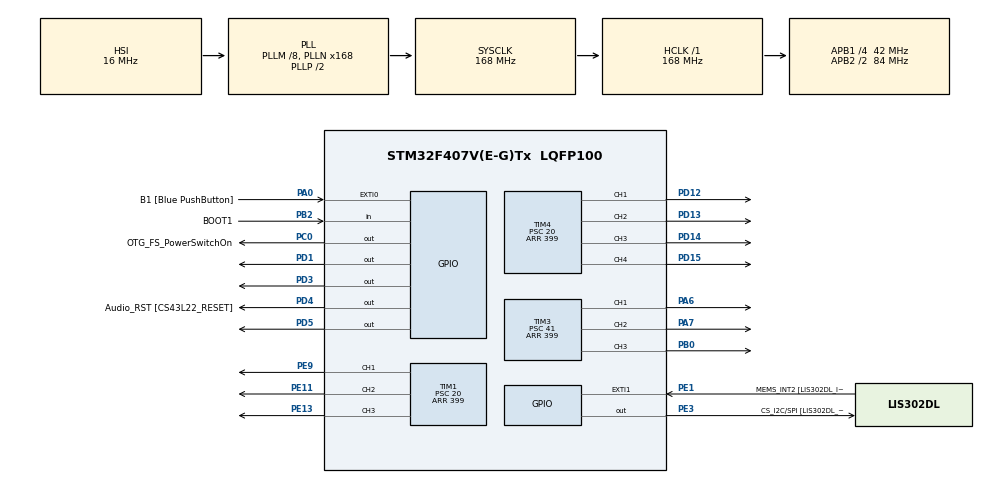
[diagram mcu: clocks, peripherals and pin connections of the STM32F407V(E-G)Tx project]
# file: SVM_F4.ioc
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Mcu.Family=STM32F4
Mcu.Name=STM32F407V(E-G)Tx
Mcu.Package=LQFP100
NVIC.PriorityGroup=NVIC_PRIORITYGROUP_0
NVIC.TIM1_UP_TIM10_IRQn=true\:0\:0\:false\:false\:true\:true
PA0-WKUP.GPIO_Label=B1 [Blue PushButton]
PA0-WKUP.GPIO_ModeDefaultEXTI=GPIO_MODE_EVT_RISING
PA0-WKUP.GPIO_PuPd=GPIO_NOPULL
PA0-WKUP.Signal=GPXTI0
PA10.GPIO_Label=OTG_FS_ID
PA10.GPIO_Mode=GPIO_MODE_AF_PP
PA10.GPIO_PuPd=GPIO_NOPULL
PA10.GPIO_Speed=GPIO_SPEED_FREQ_LOW
PA10.Signal=USB_OTG_FS_ID
PA11.GPIO_Label=OTG_FS_DM
PA11.GPIO_Mode=GPIO_MODE_AF_PP
PA11.GPIO_PuPd=GPIO_NOPULL
PA11.GPIO_Speed=GPIO_SPEED_FREQ_LOW
PA11.Signal=USB_OTG_FS_DM
PA12.GPIO_Label=OTG_FS_DP
PA12.GPIO_Mode=GPIO_MODE_AF_PP
PA12.GPIO_PuPd=GPIO_NOPULL
PA12.GPIO_Speed=GPIO_SPEED_FREQ_LOW
PA12.Signal=USB_OTG_FS_DP
PA13.GPIO_Label=SWDIO
PA13.Signal=SYS_JTMS-SWDIO
PA14.GPIO_Label=SWCLK
PA14.Signal=SYS_JTCK-SWCLK
PA4.GPIO_Label=I2S3_WS [CS43L22_LRCK]
PA4.GPIO_Mode=GPIO_MODE_AF_PP
PA4.GPIO_PuPd=GPIO_NOPULL
PA4.GPIO_Speed=GPIO_SPEED_FREQ_LOW
PA4.Signal=I2S3_WS
PA5.GPIO_Label=SPI1_SCK [LIS302DL_SCL/SPC]
PA5.GPIO_Mode=GPIO_MODE_AF_PP
PA5.GPIO_PuPd=GPIO_NOPULL
PA5.GPIO_Speed=GPIO_SPEED_FREQ_LOW
PA5.Signal=SPI1_SCK
PA6.GPIO_ModeDefaultPP=GPIO_MODE_AF_PP
PA6.GPIO_PuPd=GPIO_NOPULL
PA6.GPIO_Speed=GPIO_SPEED_FREQ_VERY_HIGH
PA6.Signal=S_TIM3_CH1
PA7.GPIO_ModeDefaultPP=GPIO_MODE_AF_PP
PA7.GPIO_PuPd=GPIO_NOPULL
PA7.GPIO_Speed=GPIO_SPEED_FREQ_VERY_HIGH
PA7.Signal=S_TIM3_CH2
PA9.GPIO_Label=VBUS_FS
PA9.GPIO_Mode=GPIO_MODE_INPUT
PA9.GPIO_PuPd=GPIO_NOPULL
PA9.Signal=USB_OTG_FS_VBUS
PB0.GPIO_ModeDefaultPP=GPIO_MODE_AF_PP
PB0.GPIO_PuPd=GPIO_NOPULL
PB0.GPIO_Speed=GPIO_SPEED_FREQ_VERY_HIGH
PB0.Signal=S_TIM3_CH3
PB10.GPIO_Label=CLK_IN [MP45DT02_CLK]
PB10.GPIO_Mode=GPIO_MODE_AF_PP
PB10.GPIO_PuPd=GPIO_NOPULL
PB10.GPIO_Speed=GPIO_SPEED_FREQ_LOW
PB10.Signal=I2S2_CK
PB2.GPIO_Label=BOOT1
PB2.GPIO_Mode=GPIO_MODE_INPUT
PB2.GPIO_PuPd=GPIO_NOPULL
PB2.Signal=GPIO_Input
PB3.GPIO_Label=SWO
PB3.Signal=SYS_JTDO-SWO
PB6.GPIO_Label=Audio_SCL [CS43L22_SCL]
PB6.GPIO_Mode=GPIO_MODE_AF_OD
PB6.GPIO_PuPd=GPIO_NOPULL
PB6.GPIO_Speed=GPIO_SPEED_FREQ_LOW
PB6.Signal=I2C1_SCL
PB9.GPIO_Label=Audio_SDA [CS43L22_SDA]
PB9.GPIO_Mode=GPIO_MODE_AF_OD
PB9.GPIO_PuPd=GPIO_NOPULL
PB9.GPIO_Speed=GPIO_SPEED_FREQ_LOW
PB9.Signal=I2C1_SDA
PC0.GPIO_Label=OTG_FS_PowerSwitchOn
PC0.GPIO_PuPd=GPIO_NOPULL
PC0.GPIO_Speed=GPIO_SPEED_FREQ_LOW
PC0.PinState=GPIO_PIN_SET
PC0.Signal=GPIO_Output
PC10.GPIO_Label=I2S3_SCK [CS43L22_SCLK]
PC10.GPIO_Mode=GPIO_MODE_AF_PP
PC10.GPIO_PuPd=GPIO_NOPULL
PC10.GPIO_Speed=GPIO_SPEED_FREQ_LOW
PC10.Signal=I2S3_CK
PC12.GPIO_Label=I2S3_SD [CS43L22_SDIN]
PC12.GPIO_Mode=GPIO_MODE_AF_PP
PC12.GPIO_PuPd=GPIO_NOPULL
PC12.GPIO_Speed=GPIO_SPEED_FREQ_LOW
PC12.Signal=I2S3_SD
PC14-OSC32_IN.GPIO_Label=PC14-OSC32_IN
PC14-OSC32_IN.Signal=RCC_OSC32_IN
PC15-OSC32_OUT.GPIO_Label=PC15-OSC32_OUT
PC15-OSC32_OUT.Signal=RCC_OSC32_OUT
PC3.GPIO_Label=PDM_OUT [MP45DT02_DOUT]
PC3.GPIO_Mode=GPIO_MODE_AF_PP
PC3.GPIO_PuPd=GPIO_NOPULL
PC3.GPIO_Speed=GPIO_SPEED_FREQ_LOW
PC3.Signal=I2S2_SD
PC7.GPIO_Label=I2S3_MCK [CS43L22_MCLK]
PC7.GPIO_Mode=GPIO_MODE_AF_PP
PC7.GPIO_PuPd=GPIO_NOPULL
PC7.GPIO_Speed=GPIO_SPEED_FREQ_LOW
PC7.Signal=I2S3_MCK
PD1.Signal=GPIO_Output
PD12.GPIO_ModeDefaultPP=GPIO_MODE_AF_PP
PD12.GPIO_PuPd=GPIO_NOPULL
PD12.GPIO_Speed=GPIO_SPEED_FREQ_VERY_HIGH
PD12.Signal=S_TIM4_CH1
PD13.GPIO_ModeDefaultPP=GPIO_MODE_AF_PP
PD13.GPIO_PuPd=GPIO_NOPULL
PD13.GPIO_Speed=GPIO_SPEED_FREQ_VERY_HIGH
PD13.Signal=S_TIM4_CH2
PD14.GPIO_ModeDefaultPP=GPIO_MODE_AF_PP
PD14.GPIO_PuPd=GPIO_NOPULL
PD14.GPIO_Speed=GPIO_SPEED_FREQ_VERY_HIGH
PD14.Signal=S_TIM4_CH3
PD15.Signal=S_TIM4_CH4
PD3.Signal=GPIO_Output
PD4.GPIO_Label=Audio_RST [CS43L22_RESET]
PD4.GPIO_PuPd=GPIO_NOPULL
PD4.GPIO_Speed=GPIO_SPEED_FREQ_LOW
PD4.Signal=GPIO_Output
PD5.Signal=GPIO_Output
PE1.GPIO_Label=MEMS_INT2 [LIS302DL_INT2]
PE1.GPIO_ModeDefaultEXTI=GPIO_MODE_EVT_RISING
PE1.GPIO_PuPd=GPIO_NOPULL
PE1.Signal=GPXTI1
PE11.GPIO_ModeDefaultPP=GPIO_MODE_AF_PP
PE11.GPIO_PuPd=GPIO_NOPULL
PE11.GPIO_Speed=GPIO_SPEED_FREQ_VERY_HIGH
PE11.Signal=S_TIM1_CH2
PE13.GPIO_ModeDefaultPP=GPIO_MODE_AF_PP
PE13.GPIO_PuPd=GPIO_NOPULL
PE13.GPIO_Speed=GPIO_SPEED_FREQ_VERY_HIGH
PE13.Signal=S_TIM1_CH3
PE3.GPIO_Label=CS_I2C/SPI [LIS302DL_CS_I2C/SPI]
PE3.GPIO_PuPd=GPIO_NOPULL
PE3.GPIO_Speed=GPIO_SPEED_FREQ_LOW
PE3.Signal=GPIO_Output
PE9.GPIO_ModeDefaultPP=GPIO_MODE_AF_PP
PE9.GPIO_PuPd=GPIO_NOPULL
PE9.GPIO_Speed=GPIO_SPEED_FREQ_VERY_HIGH
PE9.Signal=S_TIM1_CH1
PH0-OSC_IN.GPIO_Label=PH0-OSC_IN
PH0-OSC_IN.Signal=RCC_OSC_IN
PH1-OSC_OUT.GPIO_Label=PH1-OSC_OUT
PH1-OSC_OUT.Signal=RCC_OSC_OUT
ProjectManager.HeapSize=0x200
ProjectManager.StackSize=0x400
ProjectManager.TargetToolchain=MDK-ARM V5
RCC.48MHZClocksFreq_Value=48000000
RCC.AHBFreq_Value=168000000
RCC.APB1CLKDivider=RCC_HCLK_DIV4
RCC.APB1Freq_Value=42000000
RCC.APB1TimFreq_Value=84000000
RCC.APB2CLKDivider=RCC_HCLK_DIV2
RCC.APB2Freq_Value=84000000
RCC.APB2TimFreq_Value=168000000
RCC.CortexFreq_Value=168000000
RCC.HCLKFreq_Value=168000000
RCC.HSE_VALUE=8000000
RCC.HSI_VALUE=16000000
RCC.LSE_VALUE=32768
RCC.PLLM=8
RCC.PLLN=168
RCC.PLLQ=7
RCC.SYSCLKFreq_VALUE=168000000
RCC.SYSCLKSource=RCC_SYSCLKSOURCE_PLLCLK
RCC.VCOOutputFreq_Value=336000000
SH.S_TIM1_CH1.0=TIM1_CH1,PWM Generation1 CH1
SH.S_TIM1_CH2.0=TIM1_CH2,PWM Generation2 CH2
SH.S_TIM1_CH3.0=TIM1_CH3,PWM Generation3 CH3
SH.S_TIM3_CH1.0=TIM3_CH1,PWM Generation1 CH1
SH.S_TIM3_CH2.0=TIM3_CH2,PWM Generation2 CH2
SH.S_TIM3_CH3.0=TIM3_CH3,PWM Generation3 CH3
SH.S_TIM4_CH1.0=TIM4_CH1,PWM Generation1 CH1
SH.S_TIM4_CH2.0=TIM4_CH2,PWM Generation2 CH2
SH.S_TIM4_CH3.0=TIM4_CH3,PWM Generation3 CH3
SH.S_TIM4_CH4.0=TIM4_CH4,PWM Generation4 CH4
TIM1.Channel-PWM\ Generation1\ CH1=TIM_CHANNEL_1
TIM1.Channel-PWM\ Generation2\ CH2=TIM_CHANNEL_2
TIM1.Channel-PWM\ Generation3\ CH3=TIM_CHANNEL_3
TIM1.Period=399
TIM1.Prescaler=20
TIM10.Period=999
TIM10.Prescaler=167
TIM3.Channel-PWM\ Generation1\ CH1=TIM_CHANNEL_1
TIM3.Channel-PWM\ Generation2\ CH2=TIM_CHANNEL_2
TIM3.Channel-PWM\ Generation3\ CH3=TIM_CHANNEL_3
TIM3.Period=399
TIM3.Prescaler=41
TIM4.Channel-PWM\ Generation1\ CH1=TIM_CHANNEL_1
TIM4.Channel-PWM\ Generation2\ CH2=TIM_CHANNEL_2
TIM4.Channel-PWM\ Generation3\ CH3=TIM_CHANNEL_3
TIM4.Channel-PWM\ Generation4\ CH4=TIM_CHANNEL_4
TIM4.Period=399
TIM4.Prescaler=20
VP_TIM10_VS_ClockSourceINT.Mode=Enable_Timer
VP_TIM4_VS_ClockSourceINT.Mode=Internal
board=STM32F4DISCOVERY

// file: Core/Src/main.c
/**
  ******************************************************************************
  * @file           : main.c
  * @brief          : Main program body
  ******************************************************************************
  ** This notice applies to any and all portions of this file
  * that are not between comment pairs USER CODE BEGIN and
  * USER CODE END. Other portions of this file, whether
  * inserted by the user or by software development tools
  * are owned by their respective copyright owners.
  *
  * COPYRIGHT(c) 2018 STMicroelectronics
  *
  * Redistribution and use in source and binary forms, with or without modification,
  * are permitted provided that the following conditions are met:
  *   1. Redistributions of source code must retain the above copyright notice,
  *      this list of conditions and the following disclaimer.
  *   2. Redistributions in binary form must reproduce the above copyright notice,
  *      this list of conditions and the following disclaimer in the documentation
  *      and/or other materials provided with the distribution.
  *   3. Neither the name of STMicroelectronics nor the names of its contributors
  *      may be used to endorse or promote products derived from this software
  *      without specific prior written permission.
  *
  * THIS SOFTWARE IS PROVIDED BY THE COPYRIGHT HOLDERS AND CONTRIBUTORS "AS IS"
  * AND ANY EXPRESS OR IMPLIED WARRANTIES, INCLUDING, BUT NOT LIMITED TO, THE
  * IMPLIED WARRANTIES OF MERCHANTABILITY AND FITNESS FOR A PARTICULAR PURPOSE ARE
  * DISCLAIMED. IN NO EVENT SHALL THE COPYRIGHT HOLDER OR CONTRIBUTORS BE LIABLE
  * FOR ANY DIRECT, INDIRECT, INCIDENTAL, SPECIAL, EXEMPLARY, OR CONSEQUENTIAL
  * DAMAGES (INCLUDING, BUT NOT LIMITED TO, PROCUREMENT OF SUBSTITUTE GOODS OR
  * SERVICES; LOSS OF USE, DATA, OR PROFITS; OR BUSINESS INTERRUPTION) HOWEVER
  * CAUSED AND ON ANY THEORY OF LIABILITY, WHETHER IN CONTRACT, STRICT LIABILITY,
  * OR TORT (INCLUDING NEGLIGENCE OR OTHERWISE) ARISING IN ANY WAY OUT OF THE USE
  * OF THIS SOFTWARE, EVEN IF ADVISED OF THE POSSIBILITY OF SUCH DAMAGE.
  *
  ******************************************************************************
  */
#include "main.h"
#include "stm32f4xx_hal.h"
#include "tim.h"
#include "gpio.h"

/* USER CODE BEGIN Includes */
#include "BLDC.h"
#include "SVM.h"
/* USER CODE END Includes */

/* USER CODE BEGIN PV */
/* Private variables ---------------------------------------------------------*/
    volatile BLDC bldc1;
    int deg0, dutya, dutyb, dutyc;
    float out, out2;
/* USER CODE END PV */

void SystemClock_Config(void);

/* USER CODE BEGIN PFP */
/* Private function prototypes -----------------------------------------------*/

/* USER CODE END PFP */

/* USER CODE BEGIN 0 */
void HAL_TIM_PeriodElapsedCallback(TIM_HandleTypeDef *htim)
{

    if(htim->Instance == htim10.Instance)
    {
        //out2 =out;
        //out=0;

        bgc_bldchdl(&bldc1, 20);
        bgc_SVPWM(&bldc1 , 400);
        deg0 = bldc1.angle;
        out = bldc1.Va;
        out2 = bldc1.Vb ;
        dutya= bldc1.duty1;
        dutyb= bldc1.duty2;
        dutyc= bldc1.duty3;
    __HAL_TIM_SET_COMPARE(&htim3, TIM_CHANNEL_1, dutya);
    __HAL_TIM_SET_COMPARE(&htim3, TIM_CHANNEL_2, dutyb);
    __HAL_TIM_SET_COMPARE(&htim3, TIM_CHANNEL_3, dutyc);
    __HAL_TIM_SET_COMPARE(&htim4, TIM_CHANNEL_1, dutya);
    __HAL_TIM_SET_COMPARE(&htim4, TIM_CHANNEL_2, dutyb);
    __HAL_TIM_SET_COMPARE(&htim4, TIM_CHANNEL_3, dutyc);
    __HAL_TIM_SET_COMPARE(&htim4, TIM_CHANNEL_4, dutya);
    }

}
/* USER CODE END 0 */

int main(void)
{

  /* MCU Configuration----------------------------------------------------------*/

  /* Reset of all peripherals, Initializes the Flash interface and the Systick. */
  HAL_Init();

  /* Configure the system clock */
  SystemClock_Config();

  /* Initialize all configured peripherals */
  MX_GPIO_Init();
  MX_TIM1_Init();
  MX_TIM10_Init();
  MX_TIM4_Init();
  MX_TIM3_Init();
  /* USER CODE BEGIN 2 */

    /*bldc_init(*bldc0, dphi0 , phi0 , Vdc0 , Voffset0, K0) */
    bldc_init(&bldc1, 0.36 ,20 ,VDC, 0.8 , 0.07);     //0.2857 ...0.32..0.07

    HAL_GPIO_WritePin(GPIOD, GPIO_PIN_1, GPIO_PIN_SET);
    HAL_GPIO_WritePin(GPIOD, GPIO_PIN_3, GPIO_PIN_SET);
    HAL_GPIO_WritePin(GPIOD, GPIO_PIN_5, GPIO_PIN_SET);

    HAL_TIM_PWM_Start(&htim3, TIM_CHANNEL_1);
    HAL_TIM_PWM_Start(&htim3, TIM_CHANNEL_2);
    HAL_TIM_PWM_Start(&htim3, TIM_CHANNEL_3);
    HAL_TIM_PWM_Start(&htim4, TIM_CHANNEL_1);
    HAL_TIM_PWM_Start(&htim4, TIM_CHANNEL_2);
    HAL_TIM_PWM_Start(&htim4, TIM_CHANNEL_3);
    HAL_TIM_PWM_Start(&htim4, TIM_CHANNEL_4);

    __HAL_TIM_SET_COMPARE(&htim3, TIM_CHANNEL_1, 100);
    __HAL_TIM_SET_COMPARE(&htim3, TIM_CHANNEL_2, 0);
    __HAL_TIM_SET_COMPARE(&htim3, TIM_CHANNEL_3, 0);

    HAL_Delay(500);
    //__HAL_TIM_SET_COMPARE(&htim3, TIM_CHANNEL_1, 50);
    //__HAL_TIM_SET_COMPARE(&htim3, TIM_CHANNEL_2, 50);
    //__HAL_TIM_SET_COMPARE(&htim3, TIM_CHANNEL_3, 0);
    //HAL_Delay(1000);

    HAL_TIM_Base_Start_IT(&htim10);

  /* USER CODE END 2 */

  /* Infinite loop */
  /* USER CODE BEGIN WHILE */
  while (1)
  {

    __nop();
    __nop();
    __nop();
    __nop();
    __nop();
    __nop();

    //out+=1;
  /* USER CODE END WHILE */

  }

}

void SystemClock_Config(void)
{

  RCC_OscInitTypeDef RCC_OscInitStruct;
  RCC_ClkInitTypeDef RCC_ClkInitStruct;

    /**Configure the main internal regulator output voltage
    */
  __HAL_RCC_PWR_CLK_ENABLE();

  __HAL_PWR_VOLTAGESCALING_CONFIG(PWR_REGULATOR_VOLTAGE_SCALE1);

    /**Initializes the CPU, AHB and APB busses clocks
    */
  RCC_OscInitStruct.OscillatorType = RCC_OSCILLATORTYPE_HSI;
  RCC_OscInitStruct.HSIState = RCC_HSI_ON;
  RCC_OscInitStruct.HSICalibrationValue = 16;
  RCC_OscInitStruct.PLL.PLLState = RCC_PLL_ON;
  RCC_OscInitStruct.PLL.PLLSource = RCC_PLLSOURCE_HSI;
  RCC_OscInitStruct.PLL.PLLM = 8;
  RCC_OscInitStruct.PLL.PLLN = 168;
  RCC_OscInitStruct.PLL.PLLP = RCC_PLLP_DIV2;
  RCC_OscInitStruct.PLL.PLLQ = 7;
  if (HAL_RCC_OscConfig(&RCC_OscInitStruct) != HAL_OK)
  {
    _Error_Handler(__FILE__, __LINE__);
  }

    /**Initializes the CPU, AHB and APB busses clocks
    */
  RCC_ClkInitStruct.ClockType = RCC_CLOCKTYPE_HCLK|RCC_CLOCKTYPE_SYSCLK
                              |RCC_CLOCKTYPE_PCLK1|RCC_CLOCKTYPE_PCLK2;
  RCC_ClkInitStruct.SYSCLKSource = RCC_SYSCLKSOURCE_PLLCLK;
  RCC_ClkInitStruct.AHBCLKDivider = RCC_SYSCLK_DIV1;
  RCC_ClkInitStruct.APB1CLKDivider = RCC_HCLK_DIV4;
  RCC_ClkInitStruct.APB2CLKDivider = RCC_HCLK_DIV2;

  if (HAL_RCC_ClockConfig(&RCC_ClkInitStruct, FLASH_LATENCY_5) != HAL_OK)
  {
    _Error_Handler(__FILE__, __LINE__);
  }

    /**Configure the Systick interrupt time
    */
  HAL_SYSTICK_Config(HAL_RCC_GetHCLKFreq()/1000);

    /**Configure the Systick
    */
  HAL_SYSTICK_CLKSourceConfig(SYSTICK_CLKSOURCE_HCLK);

  /* SysTick_IRQn interrupt configuration */
  HAL_NVIC_SetPriority(SysTick_IRQn, 0, 0);
}

void _Error_Handler(char *file, int line)
{
  while(1)
  {
  }
}

/************************ (C) COPYRIGHT STMicroelectronics *****END OF FILE****/
